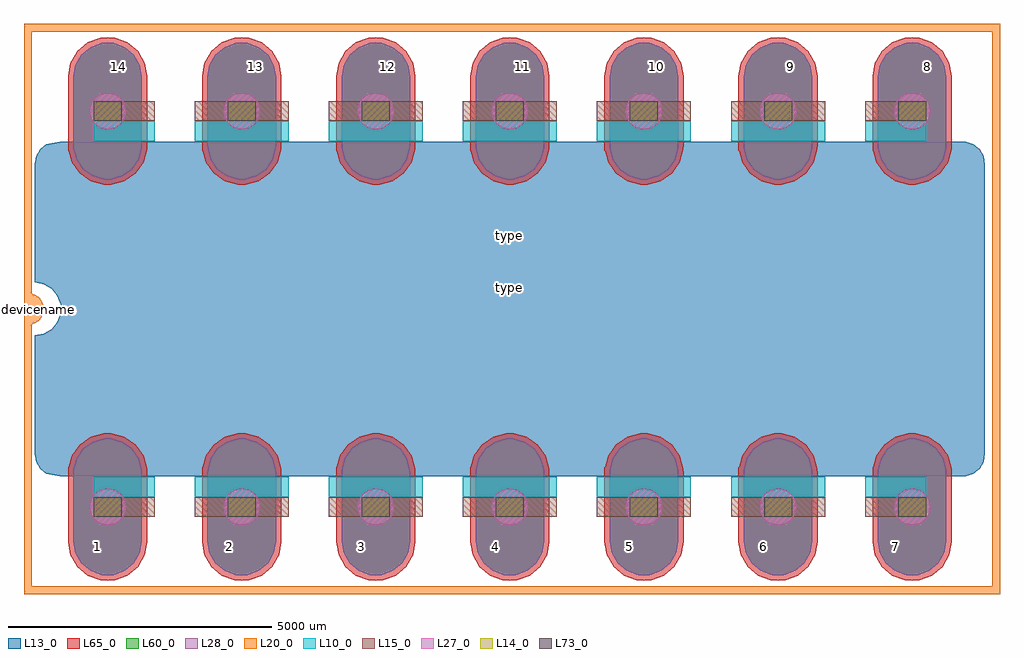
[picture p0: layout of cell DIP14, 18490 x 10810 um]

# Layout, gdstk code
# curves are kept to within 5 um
import gdstk
lib = gdstk.Library(unit=1e-6, precision=1e-09)
def R(c, l, rs):  # rectangles x0, y0, x1, y1
    for r in rs: c.add(gdstk.rectangle(r[:2], r[2:], *l))
def A(c, l, x, y, w, h, nx, ny, dx, dy):  # array of equal rectangles
    R(c, l, [(x+i*dx, y+j*dy, x+i*dx+w, y+j*dy+h) for i in range(nx) for j in range(ny)])
def P(c, l, *ps):  # polygons
    for p in ps: c.add(gdstk.Polygon(p, *l))
L10_0 = (10, 0)
L13_0 = (13, 0)
L14_0 = (14, 0)
L15_0 = (15, 0)
L20_0 = (20, 0)
L27_0 = (27, 0)
L28_0 = (28, 0)
L60_0 = (60, 0)
L65_0 = (65, 0)
L73_0 = (73, 0)

dip14 = lib.new_cell('DIP14')
A(dip14, L10_0, 1340, -3565, 1780, 390, 5, 2, 2540, 6740)
R(dip14, L10_0, [(-575,-3565,580,-3175), (14040,-3565,15195,-3175), (-575,3175,580,3565), (14040,3175,15195,3565)])
P(dip14, L13_0, [(15950.537,3170.891),(-1210.537,3170.891),(-1472.5,3119.221),(-1588.229,3022.113),(-1663.766,2891.279),(-1690,2742.5),(-1690,502.063),(-1523.99,472.346),(-1373.606,385.522),(-1261.987,252.5),(-1202.596,89.324),(-1202.596,-84.324),(-1261.987,-247.5),(-1373.606,-380.522),(-1523.99,-467.346),(-1690,-497.063),(-1690,-2742.5),(-1663.766,-2891.279),(-1588.229,-3022.113),(-1472.5,-3119.221),(-1210.537,-3170.891),(15950.537,-3170.891),(16092.5,-3119.221),(16208.229,-3022.113),(16283.766,-2891.279),(16310,-2742.5),(16310,2742.5),(16283.766,2891.279),(16208.229,3022.113),(16092.5,3119.221)])
A(dip14, L14_0, -575, -3935, 530, 370, 7, 2, 2540, 7500)
A(dip14, L15_0, 1340, -3935, 1780, 370, 5, 2, 2540, 7500)
R(dip14, L15_0, [(-575,-3935,580,-3565), (14040,-3935,15195,-3565), (-575,3565,580,3935), (14040,3565,15195,3935)])
P(dip14, L20_0, [(-1820,300),(-1820,-300),(-1717.394,-281.908),(-1647.927,-245.746),(-1607.868,-212.132),(-1574.254,-172.073),(-1538.092,-102.606),(-1520,0),(-1538.092,102.606),(-1574.254,172.073),(-1607.868,212.132),(-1647.927,245.746),(-1717.394,281.908)])
P(dip14, L27_0, [(15280,-3750),(15253.358,-3616.061),(15177.487,-3502.513),(15063.939,-3426.642),(14930,-3400),(14796.061,-3426.642),(14682.513,-3502.513),(14606.642,-3616.061),(14580,-3750),(14606.642,-3883.939),(14682.513,-3997.487),(14796.061,-4073.358),(14930,-4100),(15063.939,-4073.358),(15177.487,-3997.487),(15253.358,-3883.939)],
  [(5120,-3750),(5093.358,-3616.061),(5017.487,-3502.513),(4903.939,-3426.642),(4770,-3400),(4636.061,-3426.642),(4522.513,-3502.513),(4446.642,-3616.061),(4420,-3750),(4446.642,-3883.939),(4522.513,-3997.487),(4636.061,-4073.358),(4770,-4100),(4903.939,-4073.358),(5017.487,-3997.487),(5093.358,-3883.939)],
  [(2580,-3750),(2553.358,-3616.061),(2477.487,-3502.513),(2363.939,-3426.642),(2230,-3400),(2096.061,-3426.642),(1982.513,-3502.513),(1906.642,-3616.061),(1880,-3750),(1906.642,-3883.939),(1982.513,-3997.487),(2096.061,-4073.358),(2230,-4100),(2363.939,-4073.358),(2477.487,-3997.487),(2553.358,-3883.939)],
  [(40,-3750),(13.358,-3616.061),(-62.513,-3502.513),(-176.061,-3426.642),(-310,-3400),(-443.939,-3426.642),(-557.487,-3502.513),(-633.358,-3616.061),(-660,-3750),(-633.358,-3883.939),(-557.487,-3997.487),(-443.939,-4073.358),(-310,-4100),(-176.061,-4073.358),(-62.513,-3997.487),(13.358,-3883.939)],
  [(40,3750),(13.358,3883.939),(-62.513,3997.487),(-176.061,4073.358),(-310,4100),(-443.939,4073.358),(-557.487,3997.487),(-633.358,3883.939),(-660,3750),(-633.358,3616.061),(-557.487,3502.513),(-443.939,3426.642),(-310,3400),(-176.061,3426.642),(-62.513,3502.513),(13.358,3616.061)],
  [(2580,3750),(2553.358,3883.939),(2477.487,3997.487),(2363.939,4073.358),(2230,4100),(2096.061,4073.358),(1982.513,3997.487),(1906.642,3883.939),(1880,3750),(1906.642,3616.061),(1982.513,3502.513),(2096.061,3426.642),(2230,3400),(2363.939,3426.642),(2477.487,3502.513),(2553.358,3616.061)],
  [(5120,3750),(5093.358,3883.939),(5017.487,3997.487),(4903.939,4073.358),(4770,4100),(4636.061,4073.358),(4522.513,3997.487),(4446.642,3883.939),(4420,3750),(4446.642,3616.061),(4522.513,3502.513),(4636.061,3426.642),(4770,3400),(4903.939,3426.642),(5017.487,3502.513),(5093.358,3616.061)],
  [(15280,3750),(15253.358,3883.939),(15177.487,3997.487),(15063.939,4073.358),(14930,4100),(14796.061,4073.358),(14682.513,3997.487),(14606.642,3883.939),(14580,3750),(14606.642,3616.061),(14682.513,3502.513),(14796.061,3426.642),(14930,3400),(15063.939,3426.642),(15177.487,3502.513),(15253.358,3616.061)],
  [(7660,3750),(7633.358,3883.939),(7557.487,3997.487),(7443.939,4073.358),(7310,4100),(7176.061,4073.358),(7062.513,3997.487),(6986.642,3883.939),(6960,3750),(6986.642,3616.061),(7062.513,3502.513),(7176.061,3426.642),(7310,3400),(7443.939,3426.642),(7557.487,3502.513),(7633.358,3616.061)],
  [(7660,-3750),(7633.358,-3616.061),(7557.487,-3502.513),(7443.939,-3426.642),(7310,-3400),(7176.061,-3426.642),(7062.513,-3502.513),(6986.642,-3616.061),(6960,-3750),(6986.642,-3883.939),(7062.513,-3997.487),(7176.061,-4073.358),(7310,-4100),(7443.939,-4073.358),(7557.487,-3997.487),(7633.358,-3883.939)],
  [(10200,-3750),(10173.358,-3616.061),(10097.487,-3502.513),(9983.939,-3426.642),(9850,-3400),(9716.061,-3426.642),(9602.513,-3502.513),(9526.642,-3616.061),(9500,-3750),(9526.642,-3883.939),(9602.513,-3997.487),(9716.061,-4073.358),(9850,-4100),(9983.939,-4073.358),(10097.487,-3997.487),(10173.358,-3883.939)],
  [(10200,3750),(10173.358,3883.939),(10097.487,3997.487),(9983.939,4073.358),(9850,4100),(9716.061,4073.358),(9602.513,3997.487),(9526.642,3883.939),(9500,3750),(9526.642,3616.061),(9602.513,3502.513),(9716.061,3426.642),(9850,3400),(9983.939,3426.642),(10097.487,3502.513),(10173.358,3616.061)],
  [(12740,3750),(12713.358,3883.939),(12637.487,3997.487),(12523.939,4073.358),(12390,4100),(12256.061,4073.358),(12142.513,3997.487),(12066.642,3883.939),(12040,3750),(12066.642,3616.061),(12142.513,3502.513),(12256.061,3426.642),(12390,3400),(12523.939,3426.642),(12637.487,3502.513),(12713.358,3616.061)],
  [(12740,-3750),(12713.358,-3616.061),(12637.487,-3502.513),(12523.939,-3426.642),(12390,-3400),(12256.061,-3426.642),(12142.513,-3502.513),(12066.642,-3616.061),(12040,-3750),(12066.642,-3883.939),(12142.513,-3997.487),(12256.061,-4073.358),(12390,-4100),(12523.939,-4073.358),(12637.487,-3997.487),(12713.358,-3883.939)])
P(dip14, L28_0, [(14930,-5050),(15042.871,-5040.125),(15255,-4962.917),(15427.929,-4817.812),(15540.8,-4622.313),(15580,-4400),(15580,-3100),(15577.527,-3043.349),(15519.1,-2825.298),(15389.619,-2640.381),(15204.702,-2510.9),(14986.651,-2452.473),(14930,-2450),(14873.349,-2452.473),(14655.298,-2510.9),(14470.381,-2640.381),(14340.9,-2825.298),(14282.473,-3043.349),(14280,-3099.235),(14280,-4400),(14319.2,-4622.313),(14432.071,-4817.812),(14605,-4962.917),(14817.129,-5040.125)],
  [(4770,-5050),(4882.871,-5040.125),(5095,-4962.917),(5267.929,-4817.812),(5380.8,-4622.313),(5420,-4400),(5420,-3100),(5417.527,-3043.349),(5359.1,-2825.298),(5229.619,-2640.381),(5044.702,-2510.9),(4826.651,-2452.473),(4770,-2450),(4713.349,-2452.473),(4495.298,-2510.9),(4310.381,-2640.381),(4180.9,-2825.298),(4122.473,-3043.349),(4120,-3099.235),(4120,-4400),(4159.2,-4622.313),(4272.071,-4817.812),(4445,-4962.917),(4657.129,-5040.125)],
  [(2230,-5050),(2342.871,-5040.125),(2555,-4962.917),(2727.929,-4817.812),(2840.8,-4622.313),(2880,-4400),(2880,-3100),(2877.527,-3043.349),(2819.1,-2825.298),(2689.619,-2640.381),(2504.702,-2510.9),(2286.651,-2452.473),(2230,-2450),(2173.349,-2452.473),(1955.298,-2510.9),(1770.381,-2640.381),(1640.9,-2825.298),(1582.473,-3043.349),(1580,-3099.235),(1580,-4400),(1619.2,-4622.313),(1732.071,-4817.812),(1905,-4962.917),(2117.129,-5040.125)],
  [(-310,-5050),(-197.129,-5040.125),(15,-4962.917),(187.929,-4817.812),(300.8,-4622.313),(340,-4400),(340,-3100),(337.527,-3043.349),(279.1,-2825.298),(149.619,-2640.381),(-35.298,-2510.9),(-253.349,-2452.473),(-310,-2450),(-366.651,-2452.473),(-584.702,-2510.9),(-769.619,-2640.381),(-899.1,-2825.298),(-957.527,-3043.349),(-960,-3099.235),(-960,-4400),(-920.8,-4622.313),(-807.929,-4817.812),(-635,-4962.917),(-422.871,-5040.125)],
  [(-310,5050),(-422.871,5040.125),(-635,4962.917),(-807.929,4817.812),(-920.8,4622.313),(-960,4400),(-960,3099.235),(-957.527,3043.349),(-899.1,2825.298),(-769.619,2640.381),(-584.702,2510.9),(-366.651,2452.473),(-310,2450),(-253.349,2452.473),(-35.298,2510.9),(149.619,2640.381),(279.1,2825.298),(337.527,3043.349),(340,3100),(340,4400),(300.8,4622.313),(187.929,4817.812),(15,4962.917),(-197.129,5040.125)],
  [(2230,5050),(2117.129,5040.125),(1905,4962.917),(1732.071,4817.812),(1619.2,4622.313),(1580,4400),(1580,3099.235),(1582.473,3043.349),(1640.9,2825.298),(1770.381,2640.381),(1955.298,2510.9),(2173.349,2452.473),(2230,2450),(2286.651,2452.473),(2504.702,2510.9),(2689.619,2640.381),(2819.1,2825.298),(2877.527,3043.349),(2880,3100),(2880,4400),(2840.8,4622.313),(2727.929,4817.812),(2555,4962.917),(2342.871,5040.125)],
  [(4770,5050),(4657.129,5040.125),(4445,4962.917),(4272.071,4817.812),(4159.2,4622.313),(4120,4400),(4120,3099.235),(4122.473,3043.349),(4180.9,2825.298),(4310.381,2640.381),(4495.298,2510.9),(4713.349,2452.473),(4770,2450),(4826.651,2452.473),(5044.702,2510.9),(5229.619,2640.381),(5359.1,2825.298),(5417.527,3043.349),(5420,3100),(5420,4400),(5380.8,4622.313),(5267.929,4817.812),(5095,4962.917),(4882.871,5040.125)],
  [(14930,5050),(14817.129,5040.125),(14605,4962.917),(14432.071,4817.812),(14319.2,4622.313),(14280,4400),(14280,3099.235),(14282.473,3043.349),(14340.9,2825.298),(14470.381,2640.381),(14655.298,2510.9),(14873.349,2452.473),(14930,2450),(14986.651,2452.473),(15204.702,2510.9),(15389.619,2640.381),(15519.1,2825.298),(15577.527,3043.349),(15580,3100),(15580,4400),(15540.8,4622.313),(15427.929,4817.812),(15255,4962.917),(15042.871,5040.125)],
  [(7310,5050),(7197.129,5040.125),(6985,4962.917),(6812.071,4817.812),(6699.2,4622.313),(6660,4400),(6660,3099.235),(6662.473,3043.349),(6720.9,2825.298),(6850.381,2640.381),(7035.298,2510.9),(7253.349,2452.473),(7310,2450),(7366.651,2452.473),(7584.702,2510.9),(7769.619,2640.381),(7899.1,2825.298),(7957.527,3043.349),(7960,3100),(7960,4400),(7920.8,4622.313),(7807.929,4817.812),(7635,4962.917),(7422.871,5040.125)],
  [(7310,-5050),(7422.871,-5040.125),(7635,-4962.917),(7807.929,-4817.812),(7920.8,-4622.313),(7960,-4400),(7960,-3100),(7957.527,-3043.349),(7899.1,-2825.298),(7769.619,-2640.381),(7584.702,-2510.9),(7366.651,-2452.473),(7310,-2450),(7253.349,-2452.473),(7035.298,-2510.9),(6850.381,-2640.381),(6720.9,-2825.298),(6662.473,-3043.349),(6660,-3099.235),(6660,-4400),(6699.2,-4622.313),(6812.071,-4817.812),(6985,-4962.917),(7197.129,-5040.125)],
  [(9850,-5050),(9962.871,-5040.125),(10175,-4962.917),(10347.929,-4817.812),(10460.8,-4622.313),(10500,-4400),(10500,-3100),(10497.527,-3043.349),(10439.1,-2825.298),(10309.619,-2640.381),(10124.702,-2510.9),(9906.651,-2452.473),(9850,-2450),(9793.349,-2452.473),(9575.298,-2510.9),(9390.381,-2640.381),(9260.9,-2825.298),(9202.473,-3043.349),(9200,-3099.235),(9200,-4400),(9239.2,-4622.313),(9352.071,-4817.812),(9525,-4962.917),(9737.129,-5040.125)],
  [(9850,5050),(9737.129,5040.125),(9525,4962.917),(9352.071,4817.812),(9239.2,4622.313),(9200,4400),(9200,3099.235),(9202.473,3043.349),(9260.9,2825.298),(9390.381,2640.381),(9575.298,2510.9),(9793.349,2452.473),(9850,2450),(9906.651,2452.473),(10124.702,2510.9),(10309.619,2640.381),(10439.1,2825.298),(10497.527,3043.349),(10500,3100),(10500,4400),(10460.8,4622.313),(10347.929,4817.812),(10175,4962.917),(9962.871,5040.125)],
  [(12390,5050),(12277.129,5040.125),(12065,4962.917),(11892.071,4817.812),(11779.2,4622.313),(11740,4400),(11740,3099.235),(11742.473,3043.349),(11800.9,2825.298),(11930.381,2640.381),(12115.298,2510.9),(12333.349,2452.473),(12390,2450),(12446.651,2452.473),(12664.702,2510.9),(12849.619,2640.381),(12979.1,2825.298),(13037.527,3043.349),(13040,3100),(13040,4400),(13000.8,4622.313),(12887.929,4817.812),(12715,4962.917),(12502.871,5040.125)],
  [(12390,-5050),(12502.871,-5040.125),(12715,-4962.917),(12887.929,-4817.812),(13000.8,-4622.313),(13040,-4400),(13040,-3100),(13037.527,-3043.349),(12979.1,-2825.298),(12849.619,-2640.381),(12664.702,-2510.9),(12446.651,-2452.473),(12390,-2450),(12333.349,-2452.473),(12115.298,-2510.9),(11930.381,-2640.381),(11800.9,-2825.298),(11742.473,-3043.349),(11740,-3099.235),(11740,-4400),(11779.2,-4622.313),(11892.071,-4817.812),(12065,-4962.917),(12277.129,-5040.125)])
P(dip14, L60_0, [(14930,-5050),(15042.871,-5040.125),(15255,-4962.917),(15427.929,-4817.812),(15540.8,-4622.313),(15580,-4400),(15580,-3100),(15577.527,-3043.349),(15519.1,-2825.298),(15389.619,-2640.381),(15204.702,-2510.9),(14986.651,-2452.473),(14930,-2450),(14873.349,-2452.473),(14655.298,-2510.9),(14470.381,-2640.381),(14340.9,-2825.298),(14282.473,-3043.349),(14280,-3099.235),(14280,-4400),(14319.2,-4622.313),(14432.071,-4817.812),(14605,-4962.917),(14817.129,-5040.125)],
  [(4770,-5050),(4882.871,-5040.125),(5095,-4962.917),(5267.929,-4817.812),(5380.8,-4622.313),(5420,-4400),(5420,-3100),(5417.527,-3043.349),(5359.1,-2825.298),(5229.619,-2640.381),(5044.702,-2510.9),(4826.651,-2452.473),(4770,-2450),(4713.349,-2452.473),(4495.298,-2510.9),(4310.381,-2640.381),(4180.9,-2825.298),(4122.473,-3043.349),(4120,-3099.235),(4120,-4400),(4159.2,-4622.313),(4272.071,-4817.812),(4445,-4962.917),(4657.129,-5040.125)],
  [(2230,-5050),(2342.871,-5040.125),(2555,-4962.917),(2727.929,-4817.812),(2840.8,-4622.313),(2880,-4400),(2880,-3100),(2877.527,-3043.349),(2819.1,-2825.298),(2689.619,-2640.381),(2504.702,-2510.9),(2286.651,-2452.473),(2230,-2450),(2173.349,-2452.473),(1955.298,-2510.9),(1770.381,-2640.381),(1640.9,-2825.298),(1582.473,-3043.349),(1580,-3099.235),(1580,-4400),(1619.2,-4622.313),(1732.071,-4817.812),(1905,-4962.917),(2117.129,-5040.125)],
  [(-310,-5050),(-197.129,-5040.125),(15,-4962.917),(187.929,-4817.812),(300.8,-4622.313),(340,-4400),(340,-3100),(337.527,-3043.349),(279.1,-2825.298),(149.619,-2640.381),(-35.298,-2510.9),(-253.349,-2452.473),(-310,-2450),(-366.651,-2452.473),(-584.702,-2510.9),(-769.619,-2640.381),(-899.1,-2825.298),(-957.527,-3043.349),(-960,-3099.235),(-960,-4400),(-920.8,-4622.313),(-807.929,-4817.812),(-635,-4962.917),(-422.871,-5040.125)],
  [(-310,5050),(-422.871,5040.125),(-635,4962.917),(-807.929,4817.812),(-920.8,4622.313),(-960,4400),(-960,3099.235),(-957.527,3043.349),(-899.1,2825.298),(-769.619,2640.381),(-584.702,2510.9),(-366.651,2452.473),(-310,2450),(-253.349,2452.473),(-35.298,2510.9),(149.619,2640.381),(279.1,2825.298),(337.527,3043.349),(340,3100),(340,4400),(300.8,4622.313),(187.929,4817.812),(15,4962.917),(-197.129,5040.125)],
  [(2230,5050),(2117.129,5040.125),(1905,4962.917),(1732.071,4817.812),(1619.2,4622.313),(1580,4400),(1580,3099.235),(1582.473,3043.349),(1640.9,2825.298),(1770.381,2640.381),(1955.298,2510.9),(2173.349,2452.473),(2230,2450),(2286.651,2452.473),(2504.702,2510.9),(2689.619,2640.381),(2819.1,2825.298),(2877.527,3043.349),(2880,3100),(2880,4400),(2840.8,4622.313),(2727.929,4817.812),(2555,4962.917),(2342.871,5040.125)],
  [(4770,5050),(4657.129,5040.125),(4445,4962.917),(4272.071,4817.812),(4159.2,4622.313),(4120,4400),(4120,3099.235),(4122.473,3043.349),(4180.9,2825.298),(4310.381,2640.381),(4495.298,2510.9),(4713.349,2452.473),(4770,2450),(4826.651,2452.473),(5044.702,2510.9),(5229.619,2640.381),(5359.1,2825.298),(5417.527,3043.349),(5420,3100),(5420,4400),(5380.8,4622.313),(5267.929,4817.812),(5095,4962.917),(4882.871,5040.125)],
  [(14930,5050),(14817.129,5040.125),(14605,4962.917),(14432.071,4817.812),(14319.2,4622.313),(14280,4400),(14280,3099.235),(14282.473,3043.349),(14340.9,2825.298),(14470.381,2640.381),(14655.298,2510.9),(14873.349,2452.473),(14930,2450),(14986.651,2452.473),(15204.702,2510.9),(15389.619,2640.381),(15519.1,2825.298),(15577.527,3043.349),(15580,3100),(15580,4400),(15540.8,4622.313),(15427.929,4817.812),(15255,4962.917),(15042.871,5040.125)],
  [(7310,5050),(7197.129,5040.125),(6985,4962.917),(6812.071,4817.812),(6699.2,4622.313),(6660,4400),(6660,3099.235),(6662.473,3043.349),(6720.9,2825.298),(6850.381,2640.381),(7035.298,2510.9),(7253.349,2452.473),(7310,2450),(7366.651,2452.473),(7584.702,2510.9),(7769.619,2640.381),(7899.1,2825.298),(7957.527,3043.349),(7960,3100),(7960,4400),(7920.8,4622.313),(7807.929,4817.812),(7635,4962.917),(7422.871,5040.125)],
  [(7310,-5050),(7422.871,-5040.125),(7635,-4962.917),(7807.929,-4817.812),(7920.8,-4622.313),(7960,-4400),(7960,-3100),(7957.527,-3043.349),(7899.1,-2825.298),(7769.619,-2640.381),(7584.702,-2510.9),(7366.651,-2452.473),(7310,-2450),(7253.349,-2452.473),(7035.298,-2510.9),(6850.381,-2640.381),(6720.9,-2825.298),(6662.473,-3043.349),(6660,-3099.235),(6660,-4400),(6699.2,-4622.313),(6812.071,-4817.812),(6985,-4962.917),(7197.129,-5040.125)],
  [(9850,-5050),(9962.871,-5040.125),(10175,-4962.917),(10347.929,-4817.812),(10460.8,-4622.313),(10500,-4400),(10500,-3100),(10497.527,-3043.349),(10439.1,-2825.298),(10309.619,-2640.381),(10124.702,-2510.9),(9906.651,-2452.473),(9850,-2450),(9793.349,-2452.473),(9575.298,-2510.9),(9390.381,-2640.381),(9260.9,-2825.298),(9202.473,-3043.349),(9200,-3099.235),(9200,-4400),(9239.2,-4622.313),(9352.071,-4817.812),(9525,-4962.917),(9737.129,-5040.125)],
  [(9850,5050),(9737.129,5040.125),(9525,4962.917),(9352.071,4817.812),(9239.2,4622.313),(9200,4400),(9200,3099.235),(9202.473,3043.349),(9260.9,2825.298),(9390.381,2640.381),(9575.298,2510.9),(9793.349,2452.473),(9850,2450),(9906.651,2452.473),(10124.702,2510.9),(10309.619,2640.381),(10439.1,2825.298),(10497.527,3043.349),(10500,3100),(10500,4400),(10460.8,4622.313),(10347.929,4817.812),(10175,4962.917),(9962.871,5040.125)],
  [(12390,5050),(12277.129,5040.125),(12065,4962.917),(11892.071,4817.812),(11779.2,4622.313),(11740,4400),(11740,3099.235),(11742.473,3043.349),(11800.9,2825.298),(11930.381,2640.381),(12115.298,2510.9),(12333.349,2452.473),(12390,2450),(12446.651,2452.473),(12664.702,2510.9),(12849.619,2640.381),(12979.1,2825.298),(13037.527,3043.349),(13040,3100),(13040,4400),(13000.8,4622.313),(12887.929,4817.812),(12715,4962.917),(12502.871,5040.125)],
  [(12390,-5050),(12502.871,-5040.125),(12715,-4962.917),(12887.929,-4817.812),(13000.8,-4622.313),(13040,-4400),(13040,-3100),(13037.527,-3043.349),(12979.1,-2825.298),(12849.619,-2640.381),(12664.702,-2510.9),(12446.651,-2452.473),(12390,-2450),(12333.349,-2452.473),(12115.298,-2510.9),(11930.381,-2640.381),(11800.9,-2825.298),(11742.473,-3043.349),(11740,-3099.235),(11740,-4400),(11779.2,-4622.313),(11892.071,-4817.812),(12065,-4962.917),(12277.129,-5040.125)])
P(dip14, L65_0, [(14795.297,-5138.597),(14930,-5150.382),(15064.703,-5138.597),(15305.768,-5050.857),(15505.715,-4883.082),(15636.218,-4657.043),(15680.382,-4406.578),(15680.094,-3100.009),(15676.953,-3028.043),(15611.128,-2782.382),(15461.422,-2568.581),(15247.618,-2418.872),(15001.955,-2353.047),(14858.045,-2353.047),(14612.382,-2418.872),(14398.578,-2568.581),(14248.872,-2782.382),(14183.047,-3028.043),(14180,-2999.235),(14180,-4408.744),(14223.782,-4657.043),(14354.285,-4883.082),(14554.232,-5050.857)],
  [(4635.297,-5138.597),(4770,-5150.382),(4904.703,-5138.597),(5145.768,-5050.857),(5345.715,-4883.082),(5476.218,-4657.043),(5520.382,-4406.578),(5520.094,-3100.009),(5516.953,-3028.043),(5451.128,-2782.382),(5301.422,-2568.581),(5087.618,-2418.872),(4841.955,-2353.047),(4698.045,-2353.047),(4452.382,-2418.872),(4238.578,-2568.581),(4088.872,-2782.382),(4023.047,-3028.043),(4020,-2999.235),(4020,-4408.744),(4063.782,-4657.043),(4194.285,-4883.082),(4394.232,-5050.857)],
  [(2095.297,-5138.597),(2230,-5150.382),(2364.703,-5138.597),(2605.768,-5050.857),(2805.715,-4883.082),(2936.218,-4657.043),(2980.382,-4406.578),(2980.094,-3100.009),(2976.953,-3028.043),(2911.128,-2782.382),(2761.422,-2568.581),(2547.618,-2418.872),(2301.955,-2353.047),(2158.045,-2353.047),(1912.382,-2418.872),(1698.578,-2568.581),(1548.872,-2782.382),(1483.047,-3028.043),(1480,-2999.235),(1480,-4408.744),(1523.782,-4657.043),(1654.285,-4883.082),(1854.232,-5050.857)],
  [(-444.703,-5138.597),(-310,-5150.382),(-175.297,-5138.597),(65.768,-5050.857),(265.715,-4883.082),(396.218,-4657.043),(440.382,-4406.578),(440.094,-3100.009),(436.953,-3028.043),(371.128,-2782.382),(221.422,-2568.581),(7.618,-2418.872),(-238.045,-2353.047),(-381.955,-2353.047),(-627.618,-2418.872),(-841.422,-2568.581),(-991.128,-2782.382),(-1056.953,-3028.043),(-1060,-2999.235),(-1060,-4408.744),(-1016.218,-4657.043),(-885.715,-4883.082),(-685.768,-5050.857)],
  [(-175.297,5138.597),(-310,5150.382),(-444.703,5138.597),(-685.768,5050.857),(-885.715,4883.082),(-1016.218,4657.043),(-1060,4408.744),(-1060,2999.235),(-1056.953,3028.043),(-991.128,2782.382),(-841.422,2568.581),(-627.618,2418.872),(-381.955,2353.047),(-238.045,2353.047),(7.618,2418.872),(221.422,2568.581),(371.128,2782.382),(436.953,3028.043),(440.382,4406.578),(396.218,4657.043),(265.715,4883.082),(65.768,5050.857)],
  [(2364.703,5138.597),(2230,5150.382),(2095.297,5138.597),(1854.232,5050.857),(1654.285,4883.082),(1523.782,4657.043),(1480,4408.744),(1480,2999.235),(1483.047,3028.043),(1548.872,2782.382),(1698.578,2568.581),(1912.382,2418.872),(2158.045,2353.047),(2301.955,2353.047),(2547.618,2418.872),(2761.422,2568.581),(2911.128,2782.382),(2976.953,3028.043),(2980.382,4406.578),(2936.218,4657.043),(2805.715,4883.082),(2605.768,5050.857)],
  [(4904.703,5138.597),(4770,5150.382),(4635.297,5138.597),(4394.232,5050.857),(4194.285,4883.082),(4063.782,4657.043),(4020,4408.744),(4020,2999.235),(4023.047,3028.043),(4088.872,2782.382),(4238.578,2568.581),(4452.382,2418.872),(4698.045,2353.047),(4841.955,2353.047),(5087.618,2418.872),(5301.422,2568.581),(5451.128,2782.382),(5516.953,3028.043),(5520.382,4406.578),(5476.218,4657.043),(5345.715,4883.082),(5145.768,5050.857)],
  [(15064.703,5138.597),(14930,5150.382),(14795.297,5138.597),(14554.232,5050.857),(14354.285,4883.082),(14223.782,4657.043),(14180,4408.744),(14180,2999.235),(14183.047,3028.043),(14248.872,2782.382),(14398.578,2568.581),(14612.382,2418.872),(14858.045,2353.047),(15001.955,2353.047),(15247.618,2418.872),(15461.422,2568.581),(15611.128,2782.382),(15676.953,3028.043),(15680.382,4406.578),(15636.218,4657.043),(15505.715,4883.082),(15305.768,5050.857)],
  [(7444.703,5138.597),(7310,5150.382),(7175.297,5138.597),(6934.232,5050.857),(6734.285,4883.082),(6603.782,4657.043),(6560,4408.744),(6560,2999.235),(6563.047,3028.043),(6628.872,2782.382),(6778.578,2568.581),(6992.382,2418.872),(7238.045,2353.047),(7381.955,2353.047),(7627.618,2418.872),(7841.422,2568.581),(7991.128,2782.382),(8056.953,3028.043),(8060.382,4406.578),(8016.218,4657.043),(7885.715,4883.082),(7685.768,5050.857)],
  [(7175.297,-5138.597),(7310,-5150.382),(7444.703,-5138.597),(7685.768,-5050.857),(7885.715,-4883.082),(8016.218,-4657.043),(8060.382,-4406.578),(8060.094,-3100.009),(8056.953,-3028.043),(7991.128,-2782.382),(7841.422,-2568.581),(7627.618,-2418.872),(7381.955,-2353.047),(7238.045,-2353.047),(6992.382,-2418.872),(6778.578,-2568.581),(6628.872,-2782.382),(6563.047,-3028.043),(6560,-2999.235),(6560,-4408.744),(6603.782,-4657.043),(6734.285,-4883.082),(6934.232,-5050.857)],
  [(9715.297,-5138.597),(9850,-5150.382),(9984.703,-5138.597),(10225.768,-5050.857),(10425.715,-4883.082),(10556.218,-4657.043),(10600.382,-4406.578),(10600.094,-3100.009),(10596.953,-3028.043),(10531.128,-2782.382),(10381.422,-2568.581),(10167.618,-2418.872),(9921.955,-2353.047),(9778.045,-2353.047),(9532.382,-2418.872),(9318.578,-2568.581),(9168.872,-2782.382),(9103.047,-3028.043),(9100,-2999.235),(9100,-4408.744),(9143.782,-4657.043),(9274.285,-4883.082),(9474.232,-5050.857)],
  [(9984.703,5138.597),(9850,5150.382),(9715.297,5138.597),(9474.232,5050.857),(9274.285,4883.082),(9143.782,4657.043),(9100,4408.744),(9100,2999.235),(9103.047,3028.043),(9168.872,2782.382),(9318.578,2568.581),(9532.382,2418.872),(9778.045,2353.047),(9921.955,2353.047),(10167.618,2418.872),(10381.422,2568.581),(10531.128,2782.382),(10596.953,3028.043),(10600.382,4406.578),(10556.218,4657.043),(10425.715,4883.082),(10225.768,5050.857)],
  [(12524.703,5138.597),(12390,5150.382),(12255.297,5138.597),(12014.232,5050.857),(11814.285,4883.082),(11683.782,4657.043),(11640,4408.744),(11640,2999.235),(11643.047,3028.043),(11708.872,2782.382),(11858.578,2568.581),(12072.382,2418.872),(12318.045,2353.047),(12461.955,2353.047),(12707.618,2418.872),(12921.422,2568.581),(13071.128,2782.382),(13136.953,3028.043),(13140.382,4406.578),(13096.218,4657.043),(12965.715,4883.082),(12765.768,5050.857)],
  [(12255.297,-5138.597),(12390,-5150.382),(12524.703,-5138.597),(12765.768,-5050.857),(12965.715,-4883.082),(13096.218,-4657.043),(13140.382,-4406.578),(13140.094,-3100.009),(13136.953,-3028.043),(13071.128,-2782.382),(12921.422,-2568.581),(12707.618,-2418.872),(12461.955,-2353.047),(12318.045,-2353.047),(12072.382,-2418.872),(11858.578,-2568.581),(11708.872,-2782.382),(11643.047,-3028.043),(11640,-2999.235),(11640,-4408.744),(11683.782,-4657.043),(11814.285,-4883.082),(12014.232,-5050.857)])
A(dip14, L73_0, -575, -3935, 530, 370, 7, 2, 2540, 7500)
dip14.add(gdstk.FlexPath([(-1820,5255),(-1820,-5330),(16520,-5330),(16520,5330),(-1895,5330)], 150, ends="flush", simple_path=True, layer=20, datatype=0))  # L20_0
dip14.add(gdstk.Label('devicename', (-2220,0), layer=20, texttype=0))
dip14.add(gdstk.Label('type', (7300,1400), layer=11, texttype=0))
dip14.add(gdstk.Label('1', (-500,-4500), layer=28, texttype=0))
dip14.add(gdstk.Label('type', (7300,400), layer=20, texttype=0))
dip14.add(gdstk.Label('2', (2000,-4500), layer=28, texttype=0))
dip14.add(gdstk.Label('3', (4500,-4500), layer=28, texttype=0))
dip14.add(gdstk.Label('7', (14620,-4500), layer=28, texttype=0))
dip14.add(gdstk.Label('8', (15220,4600), layer=28, texttype=0))
dip14.add(gdstk.Label('12', (5000,4600), layer=28, texttype=0))
dip14.add(gdstk.Label('13', (2500,4600), layer=28, texttype=0))
dip14.add(gdstk.Label('14', (-100,4600), layer=28, texttype=0))
dip14.add(gdstk.Label('11', (7540,4600), layer=28, texttype=0))
dip14.add(gdstk.Label('4', (7040,-4500), layer=28, texttype=0))
dip14.add(gdstk.Label('5', (9580,-4500), layer=28, texttype=0))
dip14.add(gdstk.Label('10', (10080,4600), layer=28, texttype=0))
dip14.add(gdstk.Label('9', (12620,4600), layer=28, texttype=0))
dip14.add(gdstk.Label('6', (12120,-4500), layer=28, texttype=0))

lib.write_gds('DIP14.gds')
